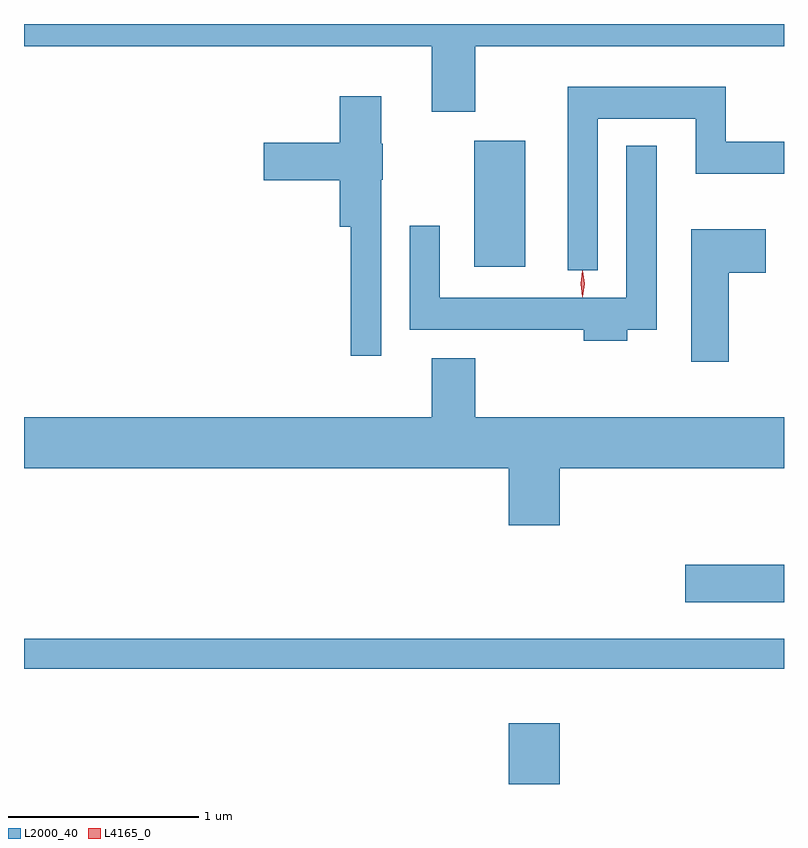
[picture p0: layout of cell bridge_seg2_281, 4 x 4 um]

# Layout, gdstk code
import gdstk
lib = gdstk.Library(unit=1e-6, precision=1e-09)
def R(c, l, rs):  # rectangles x0, y0, x1, y1
    for r in rs: c.add(gdstk.rectangle(r[:2], r[2:], *l))
def P(c, l, *ps):  # polygons
    for p in ps: c.add(gdstk.Polygon(p, *l))
L2000_40 = (2000, 40)
L4165_0 = (4165, 0)

bridge_seg2_281 = lib.new_cell('bridge_seg2_281')
R(bridge_seg2_281, L2000_40, [(554.736,1053.314,555.004,1053.634), (552.185,1053.921,556.185,1054.079), (555.666,1054.271,556.185,1054.469), (554.556,1056.036,554.824,1056.699)])
P(bridge_seg2_281, L2000_40, [(554.559,1057.196),(556.185,1057.196),(556.185,1057.314),(552.185,1057.314),(552.185,1057.196),(554.331,1057.196),(554.331,1056.851),(554.559,1056.851)],
  [(555.204,1056.816),(555.721,1056.816),(555.721,1056.526),(556.185,1056.526),(556.185,1056.694),(555.879,1056.694),(555.879,1056.984),(555.046,1056.984),(555.046,1056.018),(555.204,1056.018)],
  [(554.064,1056.495),(554.074,1056.495),(554.074,1056.685),(554.064,1056.685),(554.064,1056.934),(553.846,1056.934),(553.846,1056.689),(553.446,1056.689),(553.446,1056.491),(553.846,1056.491),(553.846,1056.246),(553.906,1056.246),(553.906,1055.568),(554.064,1055.568)],
  [(555.359,1055.706),(555.514,1055.706),(555.514,1056.673),(555.356,1056.673),(555.356,1055.874),(554.374,1055.874),(554.374,1056.253),(554.216,1056.253),(554.216,1055.706),(555.131,1055.706),(555.131,1055.646),(555.359,1055.646)],
  [(555.894,1056.006),(556.089,1056.006),(556.089,1056.234),(555.696,1056.234),(555.696,1055.536),(555.894,1055.536)],
  [(555.004,1054.976),(556.185,1054.976),(556.185,1055.244),(554.559,1055.244),(554.559,1055.554),(554.331,1055.554),(554.331,1055.244),(552.185,1055.244),(552.185,1054.976),(554.736,1054.976),(554.736,1054.676),(555.004,1054.676)])
P(bridge_seg2_281, L4165_0, [(555.125,1055.879),(555.124,1055.88),(555.115,1055.946),(555.124,1056.012),(555.125,1056.013),(555.125,1056.012),(555.135,1055.946),(555.125,1055.88)],
  [(555.125,1055.877),(555.124,1055.878),(555.115,1055.946),(555.124,1056.016),(555.125,1056.016),(555.125,1056.016),(555.135,1055.946),(555.125,1055.878)])

lib.write_gds('bridge_seg2_281.gds')
